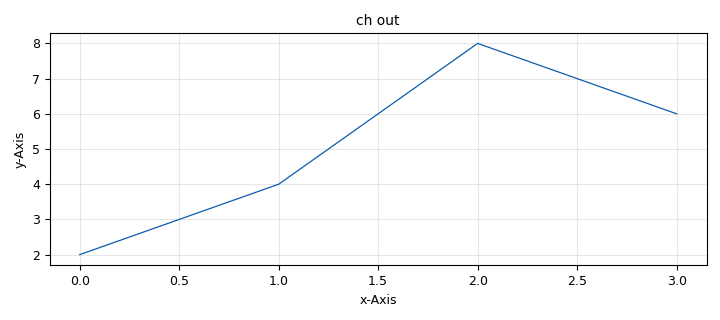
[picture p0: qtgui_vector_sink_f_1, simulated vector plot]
<?xml version='1.0' encoding='utf-8'?>
<?grc format='1' created='3.7.9'?>
<flow_graph>
<block>
<key>options</key>
<param><key>id</key><value>cdma</value></param>
<param><key>category</key><value>Custom</value></param>
<param><key>generate_options</key><value>qt_gui</value></param>
</block>
<block>
<key>variable</key>
<param><key>id</key><value>samp_rate</value></param>
<param><key>value</key><value>32000</value></param>
</block>
<block>
<key>analog_const_source_x</key>
<param><key>id</key><value>analog_const_source_x_0</value></param>
<param><key>const</key><value>1</value></param>
<param><key>type</key><value>float</value></param>
</block>
<block>
<key>analog_const_source_x</key>
<param><key>id</key><value>analog_const_source_x_1</value></param>
<param><key>const</key><value>4 </value></param>
<param><key>type</key><value>float</value></param>
</block>
<block>
<key>analog_const_source_x</key>
<param><key>id</key><value>analog_const_source_x_1_0</value></param>
<param><key>const</key><value>3</value></param>
<param><key>type</key><value>float</value></param>
</block>
<block>
<key>analog_const_source_x</key>
<param><key>id</key><value>analog_const_source_x_1_0_0</value></param>
<param><key>const</key><value>2</value></param>
<param><key>type</key><value>float</value></param>
</block>
<block>
<key>analog_noise_source_x</key>
<param><key>id</key><value>analog_noise_source_x_0</value></param>
<param><key>amp</key><value>0</value></param>
<param><key>noise_type</key><value>analog.GR_GAUSSIAN</value></param>
<param><key>type</key><value>float</value></param>
<param><key>seed</key><value>0</value></param>
</block>
<block>
<key>blocks_add_xx</key>
<param><key>id</key><value>blocks_add_xx_0</value></param>
<param><key>type</key><value>float</value></param>
<param><key>num_inputs</key><value>4</value></param>
<param><key>vlen</key><value>4</value></param>
</block>
<block>
<key>blocks_add_xx</key>
<param><key>id</key><value>blocks_add_xx_1</value></param>
<param><key>type</key><value>float</value></param>
</block>
<block>
<key>blocks_add_xx</key>
<param><key>id</key><value>blocks_add_xx_1_1</value></param>
<param><key>type</key><value>float</value></param>
<param><key>num_inputs</key><value>4</value></param>
</block>
<block>
<key>blocks_add_xx</key>
<param><key>id</key><value>blocks_add_xx_1_1_0</value></param>
<param><key>type</key><value>float</value></param>
<param><key>num_inputs</key><value>4</value></param>
</block>
<block>
<key>blocks_add_xx</key>
<param><key>id</key><value>blocks_add_xx_1_1_0_0</value></param>
<param><key>type</key><value>float</value></param>
<param><key>num_inputs</key><value>4</value></param>
</block>
<block>
<key>blocks_add_xx</key>
<param><key>id</key><value>blocks_add_xx_1_1_0_0_0</value></param>
<param><key>type</key><value>float</value></param>
<param><key>num_inputs</key><value>4</value></param>
</block>
<block>
<key>blocks_multiply_const_vxx</key>
<param><key>id</key><value>blocks_multiply_const_vxx_0</value></param>
<param><key>const</key><value>[1,1,-1,1]</value></param>
<param><key>type</key><value>float</value></param>
<param><key>vlen</key><value>4</value></param>
</block>
<block>
<key>blocks_multiply_const_vxx</key>
<param><key>id</key><value>blocks_multiply_const_vxx_0_0</value></param>
<param><key>const</key><value>[-1,1,1,1]</value></param>
<param><key>type</key><value>float</value></param>
<param><key>vlen</key><value>4</value></param>
</block>
<block>
<key>blocks_multiply_const_vxx</key>
<param><key>id</key><value>blocks_multiply_const_vxx_0_0_0</value></param>
<param><key>const</key><value>[-1,1,1,1]</value></param>
<param><key>type</key><value>float</value></param>
<param><key>vlen</key><value>4</value></param>
</block>
<block>
<key>blocks_multiply_const_vxx</key>
<param><key>id</key><value>blocks_multiply_const_vxx_0_0_0_0</value></param>
<param><key>const</key><value>[1,-1,1,1]</value></param>
<param><key>type</key><value>float</value></param>
<param><key>vlen</key><value>4</value></param>
</block>
<block>
<key>blocks_multiply_const_vxx</key>
<param><key>id</key><value>blocks_multiply_const_vxx_0_0_0_0_0</value></param>
<param><key>const</key><value>[1,1,1,-1]</value></param>
<param><key>type</key><value>float</value></param>
<param><key>vlen</key><value>4</value></param>
</block>
<block>
<key>blocks_multiply_const_vxx</key>
<param><key>id</key><value>blocks_multiply_const_vxx_0_0_1</value></param>
<param><key>const</key><value>[1,1,-1,1]</value></param>
<param><key>type</key><value>float</value></param>
<param><key>vlen</key><value>4</value></param>
</block>
<block>
<key>blocks_multiply_const_vxx</key>
<param><key>id</key><value>blocks_multiply_const_vxx_0_0_2</value></param>
<param><key>const</key><value>[1,-1,1,1]</value></param>
<param><key>type</key><value>float</value></param>
<param><key>vlen</key><value>4</value></param>
</block>
<block>
<key>blocks_multiply_const_vxx</key>
<param><key>id</key><value>blocks_multiply_const_vxx_0_0_2_0</value></param>
<param><key>const</key><value>[1,1,1,-1]</value></param>
<param><key>type</key><value>float</value></param>
<param><key>vlen</key><value>4</value></param>
</block>
<block>
<key>blocks_multiply_const_vxx</key>
<param><key>id</key><value>blocks_multiply_const_vxx_1</value></param>
<param><key>const</key><value>.25</value></param>
<param><key>type</key><value>float</value></param>
</block>
<block>
<key>blocks_multiply_const_vxx</key>
<param><key>id</key><value>blocks_multiply_const_vxx_2</value></param>
<param><key>const</key><value>0.25</value></param>
<param><key>type</key><value>float</value></param>
</block>
<block>
<key>blocks_multiply_const_vxx</key>
<param><key>id</key><value>blocks_multiply_const_vxx_2_0</value></param>
<param><key>const</key><value>0.25</value></param>
<param><key>type</key><value>float</value></param>
</block>
<block>
<key>blocks_multiply_const_vxx</key>
<param><key>id</key><value>blocks_multiply_const_vxx_2_0_0</value></param>
<param><key>const</key><value>0.25</value></param>
<param><key>type</key><value>float</value></param>
</block>
<block>
<key>blocks_stream_to_vector</key>
<param><key>id</key><value>blocks_stream_to_vector_0</value></param>
<param><key>type</key><value>float</value></param>
<param><key>num_items</key><value>4</value></param>
</block>
<block>
<key>blocks_stream_to_vector</key>
<param><key>id</key><value>blocks_stream_to_vector_0_0</value></param>
<param><key>type</key><value>float</value></param>
<param><key>num_items</key><value>4</value></param>
</block>
<block>
<key>blocks_stream_to_vector</key>
<param><key>id</key><value>blocks_stream_to_vector_1</value></param>
<param><key>type</key><value>float</value></param>
<param><key>num_items</key><value>4</value></param>
</block>
<block>
<key>blocks_stream_to_vector</key>
<param><key>id</key><value>blocks_stream_to_vector_1_0</value></param>
<param><key>type</key><value>float</value></param>
<param><key>num_items</key><value>4</value></param>
</block>
<block>
<key>blocks_stream_to_vector</key>
<param><key>id</key><value>blocks_stream_to_vector_1_0_0</value></param>
<param><key>type</key><value>float</value></param>
<param><key>num_items</key><value>4</value></param>
</block>
<block>
<key>blocks_vector_to_stream</key>
<param><key>id</key><value>blocks_vector_to_stream_0</value></param>
<param><key>type</key><value>float</value></param>
<param><key>num_items</key><value>4</value></param>
</block>
<block>
<key>blocks_vector_to_streams</key>
<param><key>id</key><value>blocks_vector_to_streams_0</value></param>
<param><key>type</key><value>float</value></param>
<param><key>num_streams</key><value>4</value></param>
</block>
<block>
<key>blocks_vector_to_streams</key>
<param><key>id</key><value>blocks_vector_to_streams_0_0</value></param>
<param><key>type</key><value>float</value></param>
<param><key>num_streams</key><value>4</value></param>
</block>
<block>
<key>blocks_vector_to_streams</key>
<param><key>id</key><value>blocks_vector_to_streams_0_0_0</value></param>
<param><key>type</key><value>float</value></param>
<param><key>num_streams</key><value>4</value></param>
</block>
<block>
<key>blocks_vector_to_streams</key>
<param><key>id</key><value>blocks_vector_to_streams_1</value></param>
<param><key>type</key><value>float</value></param>
<param><key>num_streams</key><value>4</value></param>
</block>
<block>
<key>qtgui_number_sink</key>
<param><key>id</key><value>qtgui_number_sink_0</value></param>
<param><key>autoscale</key><value>True</value></param>
<param><key>graph_type</key><value>qtgui.NUM_GRAPH_HORIZ</value></param>
<param><key>type</key><value>float</value></param>
<param><key>name</key><value>"User 0"</value></param>
</block>
<block>
<key>qtgui_number_sink</key>
<param><key>id</key><value>qtgui_number_sink_0_0</value></param>
<param><key>autoscale</key><value>True</value></param>
<param><key>graph_type</key><value>qtgui.NUM_GRAPH_HORIZ</value></param>
<param><key>type</key><value>float</value></param>
<param><key>name</key><value>"User 2"</value></param>
</block>
<block>
<key>qtgui_number_sink</key>
<param><key>id</key><value>qtgui_number_sink_0_0_0</value></param>
<param><key>autoscale</key><value>True</value></param>
<param><key>graph_type</key><value>qtgui.NUM_GRAPH_HORIZ</value></param>
<param><key>type</key><value>float</value></param>
<param><key>name</key><value>"User 3"</value></param>
</block>
<block>
<key>qtgui_number_sink</key>
<param><key>id</key><value>qtgui_number_sink_1</value></param>
<param><key>autoscale</key><value>True</value></param>
<param><key>graph_type</key><value>qtgui.NUM_GRAPH_HORIZ</value></param>
<param><key>type</key><value>float</value></param>
<param><key>name</key><value>"User 1"</value></param>
</block>
<block>
<key>qtgui_vector_sink_f</key>
<param><key>id</key><value>qtgui_vector_sink_f_0</value></param>
<param><key>autoscale</key><value>True</value></param>
<param><key>name</key><value>"ch in"</value></param>
<param><key>showports</key><value>True</value></param>
<param><key>vlen</key><value>4</value></param>
<param><key>x_start</key><value>0</value></param>
<param><key>x_step</key><value>1.0</value></param>
</block>
<block>
<key>qtgui_vector_sink_f</key>
<param><key>id</key><value>qtgui_vector_sink_f_1</value></param>
<param><key>autoscale</key><value>True</value></param>
<param><key>name</key><value>"ch out"</value></param>
<param><key>showports</key><value>True</value></param>
<param><key>vlen</key><value>4</value></param>
<param><key>x_start</key><value>0</value></param>
<param><key>x_step</key><value>1.0</value></param>
</block>
<block>
<key>virtual_sink</key>
<param><key>id</key><value>virtual_sink_0</value></param>
</block>
<block>
<key>virtual_source</key>
<param><key>id</key><value>virtual_source_0</value></param>
</block>
<connection><source_block_id>analog_const_source_x_0</source_block_id><sink_block_id>blocks_stream_to_vector_0</sink_block_id><source_key>0</source_key><sink_key>0</sink_key></connection>
<connection><source_block_id>analog_const_source_x_1</source_block_id><sink_block_id>blocks_stream_to_vector_1</sink_block_id><source_key>0</source_key><sink_key>0</sink_key></connection>
<connection><source_block_id>analog_const_source_x_1_0</source_block_id><sink_block_id>blocks_stream_to_vector_1_0</sink_block_id><source_key>0</source_key><sink_key>0</sink_key></connection>
<connection><source_block_id>analog_const_source_x_1_0_0</source_block_id><sink_block_id>blocks_stream_to_vector_1_0_0</sink_block_id><source_key>0</source_key><sink_key>0</sink_key></connection>
<connection><source_block_id>analog_noise_source_x_0</source_block_id><sink_block_id>blocks_add_xx_1</sink_block_id><source_key>0</source_key><sink_key>0</sink_key></connection>
<connection><source_block_id>blocks_add_xx_0</source_block_id><sink_block_id>blocks_vector_to_stream_0</sink_block_id><source_key>0</source_key><sink_key>0</sink_key></connection>
<connection><source_block_id>blocks_add_xx_0</source_block_id><sink_block_id>qtgui_vector_sink_f_0</sink_block_id><source_key>0</source_key><sink_key>0</sink_key></connection>
<connection><source_block_id>blocks_add_xx_1</source_block_id><sink_block_id>virtual_sink_0</sink_block_id><source_key>0</source_key><sink_key>0</sink_key></connection>
<connection><source_block_id>blocks_add_xx_1_1</source_block_id><sink_block_id>blocks_multiply_const_vxx_1</sink_block_id><source_key>0</source_key><sink_key>0</sink_key></connection>
<connection><source_block_id>blocks_add_xx_1_1_0</source_block_id><sink_block_id>blocks_multiply_const_vxx_2</sink_block_id><source_key>0</source_key><sink_key>0</sink_key></connection>
<connection><source_block_id>blocks_add_xx_1_1_0_0</source_block_id><sink_block_id>blocks_multiply_const_vxx_2_0</sink_block_id><source_key>0</source_key><sink_key>0</sink_key></connection>
<connection><source_block_id>blocks_add_xx_1_1_0_0_0</source_block_id><sink_block_id>blocks_multiply_const_vxx_2_0_0</sink_block_id><source_key>0</source_key><sink_key>0</sink_key></connection>
<connection><source_block_id>blocks_multiply_const_vxx_0</source_block_id><sink_block_id>blocks_add_xx_0</sink_block_id><source_key>0</source_key><sink_key>0</sink_key></connection>
<connection><source_block_id>blocks_multiply_const_vxx_0_0</source_block_id><sink_block_id>blocks_add_xx_0</sink_block_id><source_key>0</source_key><sink_key>1</sink_key></connection>
<connection><source_block_id>blocks_multiply_const_vxx_0_0_0</source_block_id><sink_block_id>blocks_vector_to_streams_0</sink_block_id><source_key>0</source_key><sink_key>0</sink_key></connection>
<connection><source_block_id>blocks_multiply_const_vxx_0_0_0_0</source_block_id><sink_block_id>blocks_vector_to_streams_0_0</sink_block_id><source_key>0</source_key><sink_key>0</sink_key></connection>
<connection><source_block_id>blocks_multiply_const_vxx_0_0_0_0_0</source_block_id><sink_block_id>blocks_vector_to_streams_0_0_0</sink_block_id><source_key>0</source_key><sink_key>0</sink_key></connection>
<connection><source_block_id>blocks_multiply_const_vxx_0_0_1</source_block_id><sink_block_id>blocks_vector_to_streams_1</sink_block_id><source_key>0</source_key><sink_key>0</sink_key></connection>
<connection><source_block_id>blocks_multiply_const_vxx_0_0_2</source_block_id><sink_block_id>blocks_add_xx_0</sink_block_id><source_key>0</source_key><sink_key>2</sink_key></connection>
<connection><source_block_id>blocks_multiply_const_vxx_0_0_2_0</source_block_id><sink_block_id>blocks_add_xx_0</sink_block_id><source_key>0</source_key><sink_key>3</sink_key></connection>
<connection><source_block_id>blocks_multiply_const_vxx_1</source_block_id><sink_block_id>qtgui_number_sink_1</sink_block_id><source_key>0</source_key><sink_key>0</sink_key></connection>
<connection><source_block_id>blocks_multiply_const_vxx_2</source_block_id><sink_block_id>qtgui_number_sink_0</sink_block_id><source_key>0</source_key><sink_key>0</sink_key></connection>
<connection><source_block_id>blocks_multiply_const_vxx_2_0</source_block_id><sink_block_id>qtgui_number_sink_0_0</sink_block_id><source_key>0</source_key><sink_key>0</sink_key></connection>
<connection><source_block_id>blocks_multiply_const_vxx_2_0_0</source_block_id><sink_block_id>qtgui_number_sink_0_0_0</sink_block_id><source_key>0</source_key><sink_key>0</sink_key></connection>
<connection><source_block_id>blocks_stream_to_vector_0</source_block_id><sink_block_id>blocks_multiply_const_vxx_0</sink_block_id><source_key>0</source_key><sink_key>0</sink_key></connection>
<connection><source_block_id>blocks_stream_to_vector_0_0</source_block_id><sink_block_id>blocks_multiply_const_vxx_0_0_0</sink_block_id><source_key>0</source_key><sink_key>0</sink_key></connection>
<connection><source_block_id>blocks_stream_to_vector_0_0</source_block_id><sink_block_id>blocks_multiply_const_vxx_0_0_0_0</sink_block_id><source_key>0</source_key><sink_key>0</sink_key></connection>
<connection><source_block_id>blocks_stream_to_vector_0_0</source_block_id><sink_block_id>blocks_multiply_const_vxx_0_0_0_0_0</sink_block_id><source_key>0</source_key><sink_key>0</sink_key></connection>
<connection><source_block_id>blocks_stream_to_vector_0_0</source_block_id><sink_block_id>blocks_multiply_const_vxx_0_0_1</sink_block_id><source_key>0</source_key><sink_key>0</sink_key></connection>
<connection><source_block_id>blocks_stream_to_vector_0_0</source_block_id><sink_block_id>qtgui_vector_sink_f_1</sink_block_id><source_key>0</source_key><sink_key>0</sink_key></connection>
<connection><source_block_id>blocks_stream_to_vector_1</source_block_id><sink_block_id>blocks_multiply_const_vxx_0_0</sink_block_id><source_key>0</source_key><sink_key>0</sink_key></connection>
<connection><source_block_id>blocks_stream_to_vector_1_0</source_block_id><sink_block_id>blocks_multiply_const_vxx_0_0_2</sink_block_id><source_key>0</source_key><sink_key>0</sink_key></connection>
<connection><source_block_id>blocks_stream_to_vector_1_0_0</source_block_id><sink_block_id>blocks_multiply_const_vxx_0_0_2_0</sink_block_id><source_key>0</source_key><sink_key>0</sink_key></connection>
<connection><source_block_id>blocks_vector_to_stream_0</source_block_id><sink_block_id>blocks_add_xx_1</sink_block_id><source_key>0</source_key><sink_key>1</sink_key></connection>
<connection><source_block_id>blocks_vector_to_streams_0</source_block_id><sink_block_id>blocks_add_xx_1_1_0</sink_block_id><source_key>0</source_key><sink_key>0</sink_key></connection>
<connection><source_block_id>blocks_vector_to_streams_0</source_block_id><sink_block_id>blocks_add_xx_1_1_0</sink_block_id><source_key>1</source_key><sink_key>1</sink_key></connection>
<connection><source_block_id>blocks_vector_to_streams_0</source_block_id><sink_block_id>blocks_add_xx_1_1_0</sink_block_id><source_key>2</source_key><sink_key>2</sink_key></connection>
<connection><source_block_id>blocks_vector_to_streams_0</source_block_id><sink_block_id>blocks_add_xx_1_1_0</sink_block_id><source_key>3</source_key><sink_key>3</sink_key></connection>
<connection><source_block_id>blocks_vector_to_streams_0_0</source_block_id><sink_block_id>blocks_add_xx_1_1_0_0</sink_block_id><source_key>0</source_key><sink_key>0</sink_key></connection>
<connection><source_block_id>blocks_vector_to_streams_0_0</source_block_id><sink_block_id>blocks_add_xx_1_1_0_0</sink_block_id><source_key>1</source_key><sink_key>1</sink_key></connection>
<connection><source_block_id>blocks_vector_to_streams_0_0</source_block_id><sink_block_id>blocks_add_xx_1_1_0_0</sink_block_id><source_key>2</source_key><sink_key>2</sink_key></connection>
<connection><source_block_id>blocks_vector_to_streams_0_0</source_block_id><sink_block_id>blocks_add_xx_1_1_0_0</sink_block_id><source_key>3</source_key><sink_key>3</sink_key></connection>
<connection><source_block_id>blocks_vector_to_streams_0_0_0</source_block_id><sink_block_id>blocks_add_xx_1_1_0_0_0</sink_block_id><source_key>0</source_key><sink_key>0</sink_key></connection>
<connection><source_block_id>blocks_vector_to_streams_0_0_0</source_block_id><sink_block_id>blocks_add_xx_1_1_0_0_0</sink_block_id><source_key>1</source_key><sink_key>1</sink_key></connection>
<connection><source_block_id>blocks_vector_to_streams_0_0_0</source_block_id><sink_block_id>blocks_add_xx_1_1_0_0_0</sink_block_id><source_key>2</source_key><sink_key>2</sink_key></connection>
<connection><source_block_id>blocks_vector_to_streams_0_0_0</source_block_id><sink_block_id>blocks_add_xx_1_1_0_0_0</sink_block_id><source_key>3</source_key><sink_key>3</sink_key></connection>
<connection><source_block_id>blocks_vector_to_streams_1</source_block_id><sink_block_id>blocks_add_xx_1_1</sink_block_id><source_key>0</source_key><sink_key>0</sink_key></connection>
<connection><source_block_id>blocks_vector_to_streams_1</source_block_id><sink_block_id>blocks_add_xx_1_1</sink_block_id><source_key>1</source_key><sink_key>1</sink_key></connection>
<connection><source_block_id>blocks_vector_to_streams_1</source_block_id><sink_block_id>blocks_add_xx_1_1</sink_block_id><source_key>2</source_key><sink_key>2</sink_key></connection>
<connection><source_block_id>blocks_vector_to_streams_1</source_block_id><sink_block_id>blocks_add_xx_1_1</sink_block_id><source_key>3</source_key><sink_key>3</sink_key></connection>
<connection><source_block_id>virtual_source_0</source_block_id><sink_block_id>blocks_stream_to_vector_0_0</sink_block_id><source_key>0</source_key><sink_key>0</sink_key></connection>
</flow_graph>
